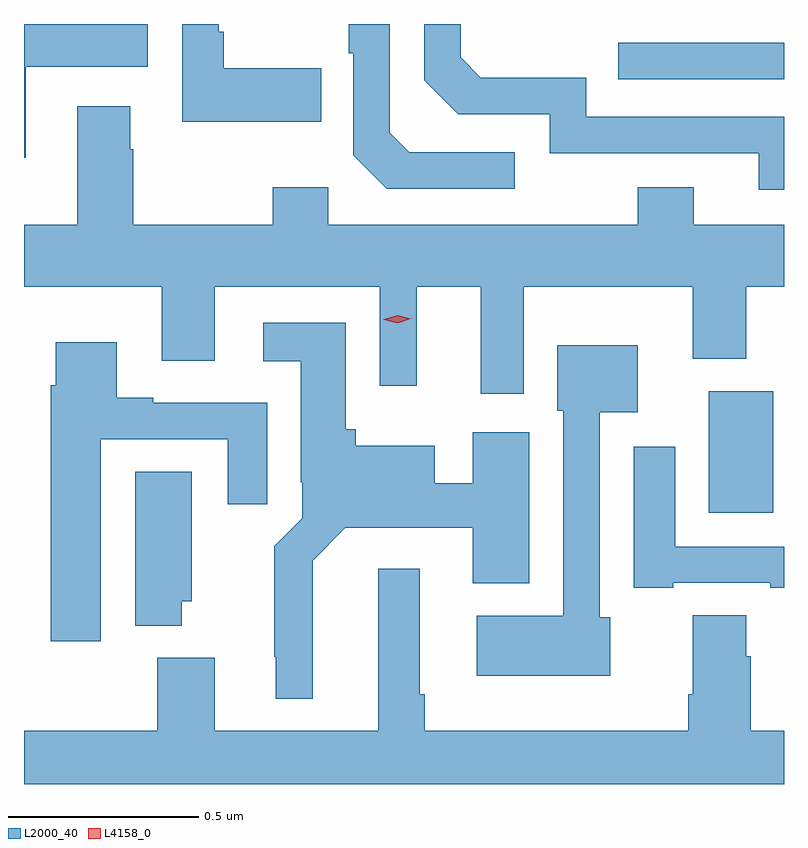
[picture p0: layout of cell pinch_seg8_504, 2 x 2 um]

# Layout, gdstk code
import gdstk
lib = gdstk.Library(unit=1e-6, precision=1e-09)
def R(c, l, rs):  # rectangles x0, y0, x1, y1
    for r in rs: c.add(gdstk.rectangle(r[:2], r[2:], *l))
def P(c, l, *ps):  # polygons
    for p in ps: c.add(gdstk.Polygon(p, *l))
L2000_40 = (2000, 40)
L4158_0 = (4158, 0)

pinch_seg8_504 = lib.new_cell('pinch_seg8_504')
R(pinch_seg8_504, L2000_40, [(234.581,1141.214,234.751,1141.534), (234.343,1142.355,234.779,1142.451)])
P(pinch_seg8_504, L2000_40, [(232.783,1142.387),(233.104,1142.387),(233.104,1142.5),(232.779,1142.5),(232.779,1142.148),(232.783,1142.148)],
  [(233.561,1142.383),(233.305,1142.383),(233.305,1142.479),(233.292,1142.479),(233.292,1142.5),(233.196,1142.5),(233.196,1142.243),(233.561,1142.243)],
  [(234.779,1142.256),(234.258,1142.256),(234.258,1142.359),(233.981,1142.359),(233.928,1142.412),(233.928,1142.5),(233.832,1142.5),(233.832,1142.352),(233.922,1142.262),(234.162,1142.262),(234.162,1142.16),(234.713,1142.16),(234.713,1142.064),(234.779,1142.064)],
  [(234.07,1142.163),(233.793,1142.163),(233.742,1142.214),(233.742,1142.5),(233.634,1142.5),(233.634,1142.423),(233.646,1142.423),(233.646,1142.154),(233.733,1142.067),(234.07,1142.067)],
  [(234.094,1141.808),(234.539,1141.808),(234.539,1141.619),(234.679,1141.619),(234.679,1141.808),(234.779,1141.808),(234.779,1141.972),(234.541,1141.972),(234.541,1142.071),(234.394,1142.071),(234.394,1141.972),(233.58,1141.972),(233.58,1142.071),(233.434,1142.071),(233.434,1141.972),(233.067,1141.972),(233.067,1142.171),(233.059,1142.171),(233.059,1142.284),(232.919,1142.284),(232.919,1141.972),(232.779,1141.972),(232.779,1141.808),(233.141,1141.808),(233.141,1141.614),(233.281,1141.614),(233.281,1141.808),(233.715,1141.808),(233.715,1141.548),(233.812,1141.548),(233.812,1141.808),(233.981,1141.808),(233.981,1141.527),(234.094,1141.527)],
  [(233.539,1141.088),(233.625,1141.175),(233.96,1141.175),(233.96,1141.028),(234.109,1141.028),(234.109,1141.426),(233.96,1141.426),(233.96,1141.292),(233.86,1141.292),(233.86,1141.39),(233.652,1141.39),(233.652,1141.434),(233.626,1141.434),(233.626,1141.714),(233.409,1141.714),(233.409,1141.613),(233.507,1141.613),(233.507,1141.294),(233.511,1141.294),(233.511,1141.2),(233.437,1141.126),(233.437,1140.835),(233.441,1140.835),(233.441,1140.725),(233.539,1140.725)],
  [(232.981,1141.407),(233.315,1141.407),(233.315,1141.236),(233.419,1141.236),(233.419,1141.503),(233.119,1141.503),(233.119,1141.516),(233.023,1141.516),(233.023,1141.663),(232.862,1141.663),(232.862,1141.55),(232.85,1141.55),(232.85,1140.876),(232.981,1140.876)],
  [(234.322,1140.939),(234.294,1140.939),(234.294,1141.478),(234.394,1141.478),(234.394,1141.654),(234.182,1141.654),(234.182,1141.482),(234.198,1141.482),(234.198,1140.943),(233.97,1140.943),(233.97,1140.785),(234.322,1140.785)],
  [(234.487,1141.029),(234.743,1141.029),(234.743,1141.017),(234.779,1141.017),(234.779,1141.125),(234.493,1141.125),(234.493,1141.387),(234.383,1141.387),(234.383,1141.017),(234.487,1141.017)],
  [(233.194,1140.981),(233.221,1140.981),(233.221,1141.322),(233.072,1141.322),(233.072,1140.917),(233.194,1140.917)],
  [(234.779,1140.64),(234.692,1140.64),(234.692,1140.836),(234.679,1140.836),(234.679,1140.944),(234.539,1140.944),(234.539,1140.736),(234.527,1140.736),(234.527,1140.64),(233.834,1140.64),(233.834,1140.736),(233.821,1140.736),(233.821,1141.066),(233.711,1141.066),(233.711,1140.64),(233.281,1140.64),(233.281,1140.832),(233.129,1140.832),(233.129,1140.64),(232.779,1140.64),(232.779,1140.5),(234.779,1140.5)])
P(pinch_seg8_504, L4158_0, [(233.762,1141.713),(233.726,1141.722),(233.726,1141.722),(233.726,1141.723),(233.762,1141.733),(233.797,1141.724),(233.798,1141.724),(233.797,1141.724)])

lib.write_gds('pinch_seg8_504.gds')
